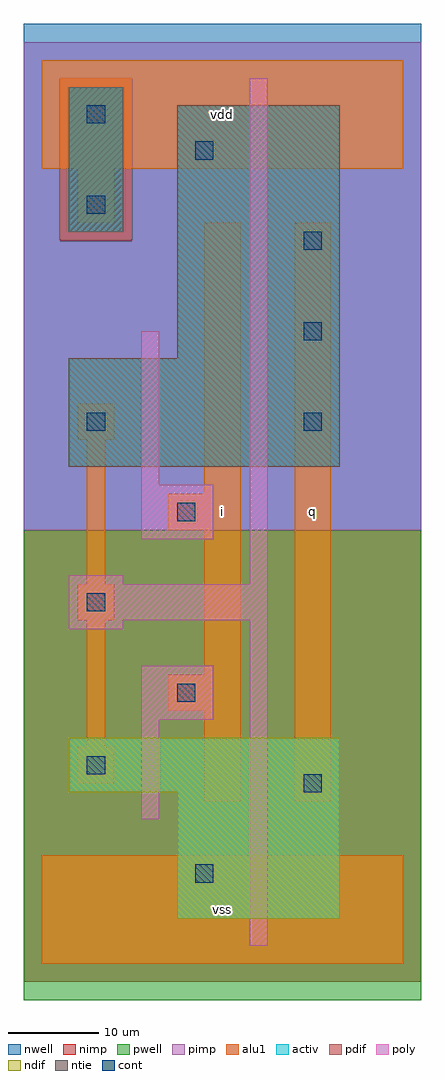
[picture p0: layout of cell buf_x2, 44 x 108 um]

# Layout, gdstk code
import gdstk
lib = gdstk.Library(unit=1e-6, precision=1e-09)
def R(c, l, rs):  # rectangles x0, y0, x1, y1
    for r in rs: c.add(gdstk.rectangle(r[:2], r[2:], *l))
def A(c, l, x, y, w, h, nx, ny, dx, dy):  # array of equal rectangles
    R(c, l, [(x+i*dx, y+j*dy, x+i*dx+w, y+j*dy+h) for i in range(nx) for j in range(ny)])
ndif = (3, 0)
pdif = (4, 0)
ntie = (5, 0)
cont = (25, 0)
pwell = (41, 0)
nwell = (42, 0)
activ = (43, 0)
pimp = (44, 0)
nimp = (45, 0)
poly = (46, 0)
alu1 = (49, 0)

buf_x2 = lib.new_cell('buf_x2')
R(buf_x2, ndif, [(15,5,33,19), (3,19,33,25)])
R(buf_x2, pdif, [(3,55,33,67), (15,67,33,95)])
R(buf_x2, ntie, [(3,81,9,97)])
A(buf_x2, cont, 29, 59, 2, 2, 1, 3, 0, 10)
R(buf_x2, cont, [(17,9,19,11), (29,19,31,21), (5,21,7,23), (15,29,17,31), (5,39,7,41), (15,49,17,51), (5,59,7,61), (5,83,7,85), (17,89,19,91), (5,93,7,95)])
R(buf_x2, pwell, [(-2,-4,42,48)])
R(buf_x2, nwell, [(-2,48,42,104)])
R(buf_x2, activ, [(15,5,33,19), (3,19,33,25), (3,55,33,67), (15,67,33,95), (3,81,9,97)])
R(buf_x2, pimp, [(-2,48,42,80), (-2,80,2,98), (10,80,42,98), (-2,98,42,102)])
R(buf_x2, nimp, [(-2,-2,42,48), (2,80,10,98)])
R(buf_x2, poly, [(23,2,25,38), (11,16,13,27), (11,27,19,33), (3,37,9,38), (3,38,25,42), (3,42,9,43), (23,42,25,98), (11,47,19,53), (11,53,13,70)])
R(buf_x2, alu1, [(0,0,40,12), (18,18,22,28), (28,18,32,82), (4,20,8,24), (5,24,7,38), (14,28,22,32), (18,32,22,48), (4,38,8,42), (5,42,7,58), (14,48,22,52), (18,52,22,82), (4,58,8,62), (4,82,8,88), (0,88,40,100)])
buf_x2.add(gdstk.Label('vss', (20,6), layer=49, texttype=0))
buf_x2.add(gdstk.Label('i', (20,50), layer=49, texttype=0))
buf_x2.add(gdstk.Label('vdd', (20,94), layer=49, texttype=0))
buf_x2.add(gdstk.Label('q', (30,50), layer=49, texttype=0))

lib.write_gds('buf_x2.gds')
